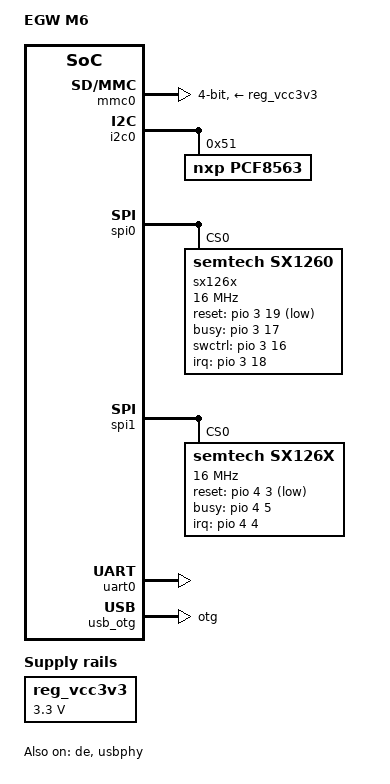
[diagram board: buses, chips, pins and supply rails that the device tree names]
// SPDX-License-Identifier: (GPL-2.0+ OR X11)
/*
 * Copyright 2023 BH1RBH <jack.tan@jackslab.org>
 */

/dts-v1/;
#include "egw-core-v2.dtsi"

#include <dt-bindings/gpio/gpio.h>
#include <dt-bindings/interrupt-controller/irq.h>

/ {
	model = "EGW M6";
	compatible = "egw,egw-m6", "allwinner,suniv-f1c100s",
		     "allwinner,suniv";

	aliases {
		serial0 = &uart0;
		spi0 = &spi0;
		spi1 = &spi1;
	};

	chosen {
		stdout-path = "serial0:115200n8";
	};

	reg_vcc3v3: vcc3v3 {
		compatible = "regulator-fixed";
		regulator-name = "vcc3v3";
		regulator-min-microvolt = <3300000>;
		regulator-max-microvolt = <3300000>;
	};
};

&de {
	status = "okay";
};

&mmc0 {
	vmmc-supply = <&reg_vcc3v3>;
	bus-width = <4>;
	broken-cd;
	status = "okay";
};

&otg_sram {
	status = "okay";
};

&i2c0 {
	pinctrl-names = "default";
	pinctrl-0 = <&i2c0_pins>;
	status = "okay";

	pcf8563: rtc@51 {
		compatible = "nxp,pcf8563";
		reg = <0x51>;
	};
};

/*
 * PC0 -- SPI0_CLK
 * PC1 -- SPI0_CS
 * PC2 -- SPI0_MISO
 * PC3 -- SPI0_MOSI
 * PD19 -- Reset (aka: LCD_RST)
 * PD18 -- Interrupt (aka: LCD_DC)
 * PD17 -- LR_BUSY (aka: IO9)
 * PD16 -- SW_CTRL (aka: IO8)
 * clock-frequency = <500000> 500KHz;
*/
&spi0 {
	pinctrl-names = "default";
	pinctrl-0 = <&spi0_pins>;
	status = "okay";
	spi-max-frequency = <16000000>;

	sx126x@0 {
		#address-cells = <1>;
		#size-cells = <1>;
		spi-max-frequency = <16000000>;

		compatible = "semtech,sx1260";
		reg = <0x0>;

		reset-gpios = <&pio 3 19 GPIO_ACTIVE_LOW>;			/* PD19 */

		interrupt-parent = <&pio>;
		interrupts = <3 18 IRQ_TYPE_EDGE_RISING>;			/* PD18 / EINT3 */

		busy-gpios = <&pio 3 17 GPIO_ACTIVE_HIGH>;			/* PD17 */

		swctrl-gpios = <&pio 3 16 GPIO_ACTIVE_HIGH>;		/* PD16 */
	};
};


/*
 * PA0 -- SPI1_CS
 * PA1 -- SPI1_MOSI
 * PA2 -- SPI1_CLK
 * PA3 -- SPI1_MISO
 * PE3 -- Reset
 * PE4 -- Interrupt
 * PE5 -- LR_BUSY
*/
&spi1 {
	pinctrl-names = "default";
	pinctrl-0 = <&spi1_pins>;
	status = "okay";
	spi-max-frequency = <16000000>;

	sx126x@1 {
		#address-cells = <1>;
		#size-cells = <1>;
		spi-max-frequency = <16000000>;

		compatible = "semtech,sx126x";
		reg = <0x0>;

		reset-gpios = <&pio 4 3 GPIO_ACTIVE_LOW>;			/* PE3 */

		interrupt-parent = <&pio>;
		interrupts = <4 4 IRQ_TYPE_EDGE_RISING>;			/* PE4 / EINT3 */

		busy-gpios = <&pio 4 5 GPIO_ACTIVE_HIGH>;			/* PE5 */
	};
};

/*
&tcon0 {
	pinctrl-names = "default";
	pinctrl-0 = <&lcd_rgb666_pins>;
	status = "okay";
};

&tcon0_out {
	tcon0_out_lcd: endpoint@0 {
		reg = <0>;
		remote-endpoint = <&panel_input>;
	};
};
*/

&uart0 {
	pinctrl-names = "default";
	pinctrl-0 = <&uart0_pins>;
	status = "okay";
};

&usb_otg {
	dr_mode = "otg";
	status = "okay";
};

&usbphy {
	usb0_id_det-gpio = <&pio 4 2 GPIO_ACTIVE_HIGH>; /* PE2 is low in m6, 1: enter device mode */
	status = "okay";
};
